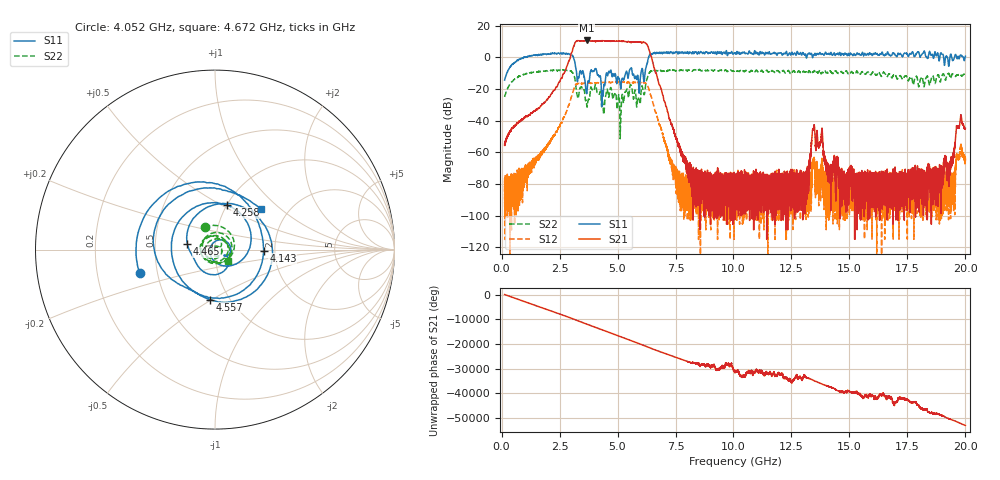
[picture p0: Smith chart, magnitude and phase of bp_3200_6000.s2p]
!Created with skrf (http://scikit-rf.org).
# GHz S RI R 50.0
!freq ReS11 ImS11 ReS21 ImS21 ReS12 ImS12 ReS22 ImS22
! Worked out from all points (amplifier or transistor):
!   20013 points, 130 MHz to 20 GHz, reference 50 ohm
!   highest |S21| = 10.7 dB at 3.679 GHz (marker M1)
!   |S21| within 3 dB of that: 3.133 GHz to 6.282 GHz (3.149 GHz wide, 66.9 % of centre)
!   unconditionally stable (mu >= 1): start of sweep to 962.4 MHz; 3.156 GHz to 6.302 GHz; 19.41 GHz to 19.52 GHz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
!   at 3.465 GHz: K = 1.17, MAG = 11.0 dB, |S12| = -16.5 dB
!   at 10.14 GHz: K = -65269820.90, MSG = -5.3 dB, |S12| = -75.8 dB
!   at 20 GHz: K = -25081.96, MSG = 9.9 dB, |S12| = -64.7 dB
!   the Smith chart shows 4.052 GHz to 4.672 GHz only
!   S11 on the Smith chart (normalised r, x): 4.052 GHz: 0.40, -0.13; 4.143 GHz: 1.74, -0.02; 4.258 GHz: 1.00, +0.53; 4.465 GHz: 0.73, +0.04; 4.557 GHz: 0.81, -0.49; 4.672 GHz: 1.45, +0.75
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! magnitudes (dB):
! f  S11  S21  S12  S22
! 130 MHz  -14.4  -55.6  -81.3  -25.0
! 2.196 GHz  2.7  -22.0  -50.9  -8.4
! 3.442 GHz  -10.5  10.5  -16.6  -18.5
! 3.679 GHz  -22.2  10.7  -16.1  -31.1
! 4.052 GHz  -7.1  9.9  -16.5  -17.2
! 4.143 GHz  -11.4  10.4  -16.0  -22.0
! 4.258 GHz  -11.8  10.3  -16.1  -21.4
! 4.465 GHz  -16.1  10.5  -15.8  -25.9
! 4.557 GHz  -11.1  10.3  -15.9  -20.2
! 4.672 GHz  -9.3  10.2  -15.8  -20.5
! 5.065 GHz  -13.5  10.2  -15.7  -24.3
! 6.204 GHz  -7.9  9.1  -16.3  -18.1
! 6.754 GHz  3.0  -14.8  -40.0  -8.5
! 7.559 GHz  3.6  -51.9  -78.3  -8.0
! 8.283 GHz  2.4  -74.5  -87.4  -7.9
! 10.06 GHz  2.9  -76.5  -80.3  -8.5
! 13.05 GHz  1.9  -75.7  -77.9  -9.0
! 13.38 GHz  1.8  -51.2  -75.6  -9.5
! 14.69 GHz  2.1  -86.0  -85.9  -9.5
! 16.69 GHz  1.7  -81.3  -83.1  -10.6
! 18.95 GHz  2.5  -72.2  -79.6  -13.6
! 20 GHz  0.7  -44.9  -64.7  -10.1
